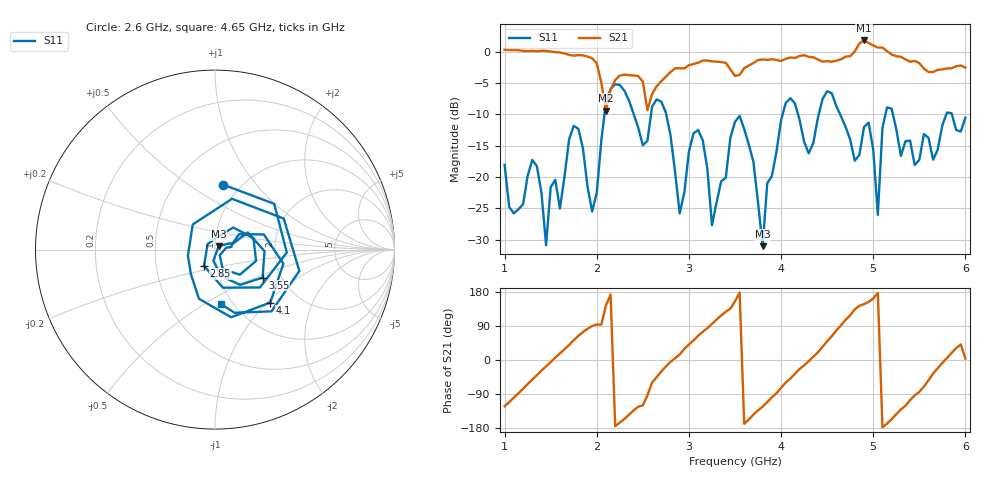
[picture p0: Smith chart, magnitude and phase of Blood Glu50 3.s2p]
! NanoVNA-App
! Date: 2024-03-21 11:58:21
! Start: 1GHz Stop: 6GHz Points: 101
! S-Parameter data: F S11 S21 S12 S22
# Hz S RI R 50
!	Frequency	S11_Real	S11_Imag	S21_Real	S21_Imag	S12_Real	S12_Imag	S22_Real	S22_Imag
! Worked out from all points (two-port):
!   101 points, 1 GHz to 6 GHz, reference 50 ohm
!   highest |S21| = 1.81 dB at 4.9 GHz (marker M1); lowest = -9.4 dB at 2.1 GHz (marker M2)
!   |S21| within 3 dB of the highest: start of sweep to 1.959 GHz; 4.651 GHz to 5.348 GHz (697 MHz wide, 13.9 % of centre)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
!   lowest |S11| = -31.0 dB at 3.8 GHz (marker M3), VSWR 1.06, Z = 52 + j2.01 ohm
!   |S11| at or under -10 dB: start of sweep to 2.083 GHz; 2.754 GHz to 4.017 GHz (1.263 GHz wide, 37.3 % of centre); 5.214 GHz to 5.792 GHz (578.3 MHz wide, 10.5 % of centre)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
!   S12 and S22 are empty: the file has one direction only
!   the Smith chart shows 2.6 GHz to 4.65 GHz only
!   S11 on the Smith chart (normalised r, x): 2.6 GHz: 0.83, +0.69; 2.85 GHz: 0.87, -0.16; 3.55 GHz: 1.60, -0.55; 4.1 GHz: 1.45, -1.04; 4.65 GHz: 0.88, -0.59
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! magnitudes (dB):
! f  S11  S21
! 1 GHz  -18.0  0.3
! 1.35 GHz  -18.3  0.1
! 1.45 GHz  -30.9  0.1
! 1.85 GHz  -15.4  -0.6
! 1.95 GHz  -25.5  -1.0
! 2.1 GHz  -8.0  -9.4
! 2.6 GHz  -8.8  -6.8
! 2.7 GHz  -8.0  -4.7
! 2.85 GHz  -19.2  -2.6
! 3.1 GHz  -12.5  -1.7
! 3.25 GHz  -27.7  -1.5
! 3.5 GHz  -11.2  -3.8
! 3.55 GHz  -10.2  -3.7
! 3.8 GHz  -31.0  -1.2
! 4.1 GHz  -7.4  -0.9
! 4.35 GHz  -14.6  -0.9
! 4.65 GHz  -10.3  -1.2
! 4.9 GHz  -12.0  1.8
! 5.05 GHz  -26.0  0.7
! 5.2 GHz  -9.1  -0.4
! 5.45 GHz  -18.1  -1.4
! 6 GHz  -10.5  -2.5
